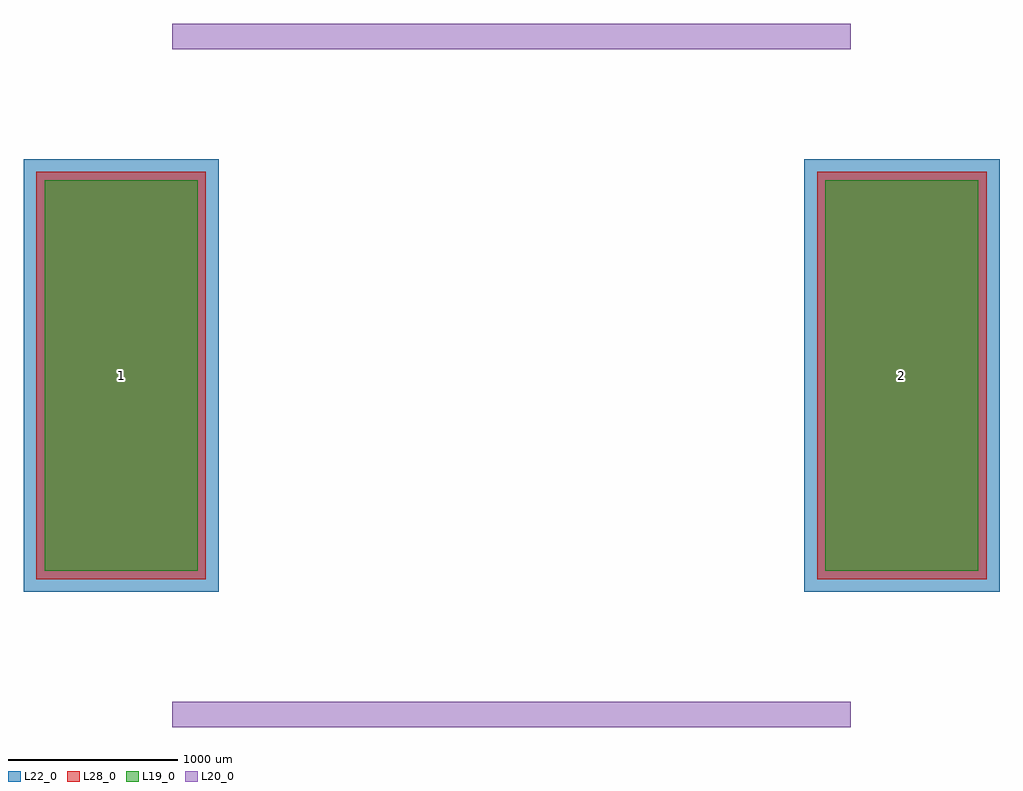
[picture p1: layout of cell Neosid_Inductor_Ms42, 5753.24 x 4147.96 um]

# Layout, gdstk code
import gdstk
lib = gdstk.Library(unit=1e-6, precision=1e-09)
def R(c, l, rs):  # rectangles x0, y0, x1, y1
    for r in rs: c.add(gdstk.rectangle(r[:2], r[2:], *l))
L19_0 = (19, 0)
L20_0 = (20, 0)
L22_0 = (22, 0)
L28_0 = (28, 0)

neosid_inductor_ms42 = lib.new_cell('Neosid_Inductor_Ms42')
R(neosid_inductor_ms42, L19_0, [(-2751.62,-1150.15,-1850.86,1150.15), (1850.86,-1150.15,2751.62,1150.15)])
R(neosid_inductor_ms42, L22_0, [(-2876.62,-1275.15,-1725.86,1275.15), (1725.86,-1275.15,2876.62,1275.15)])
R(neosid_inductor_ms42, L28_0, [(-2801.62,-1200.15,-1800.86,1200.15), (1800.86,-1200.15,2801.62,1200.15)])
neosid_inductor_ms42.add(gdstk.FlexPath([(1998.98,1998.98),(-1998.98,1998.98)], 149.998, ends="flush", simple_path=True, layer=20, datatype=0))  # L20_0
neosid_inductor_ms42.add(gdstk.FlexPath([(1998.98,-1998.98),(-1998.98,-1998.98)], 149.998, ends="flush", simple_path=True, layer=20, datatype=0))  # L20_0
neosid_inductor_ms42.add(gdstk.Label('2', (2301.24,0), layer=28, texttype=0))
neosid_inductor_ms42.add(gdstk.Label('1', (-2301.24,0), layer=28, texttype=0))
neosid_inductor_ms42.add(gdstk.Label('type', (0,-4000.5), layer=9, texttype=0))
neosid_inductor_ms42.add(gdstk.Label('devicename', (0,4000.5), layer=9, texttype=0))

lib.write_gds('Neosid_Inductor_Ms42.gds')
